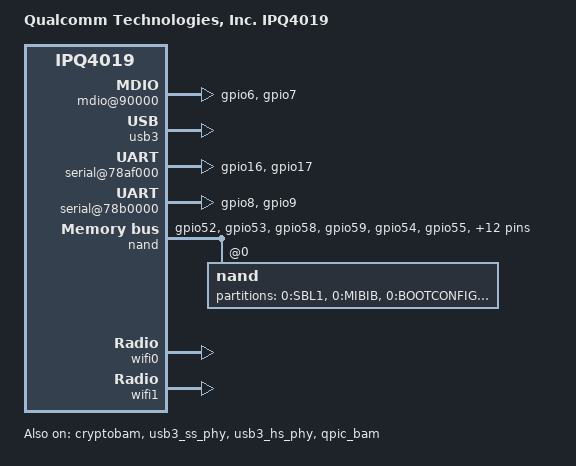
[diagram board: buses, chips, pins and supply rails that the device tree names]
/* Copyright (c) 2015, The Linux Foundation. All rights reserved.
 * Copyright (c) 2018, David Bauer <mail@david-bauer.net>
 *
 * Permission to use, copy, modify, and/or distribute this software for any
 * purpose with or without fee is hereby granted, provided that the above
 * copyright notice and this permission notice appear in all copies.
 *
 * THE SOFTWARE IS PROVIDED "AS IS" AND THE AUTHOR DISCLAIMS ALL WARRANTIES
 * WITH REGARD TO THIS SOFTWARE INCLUDING ALL IMPLIED WARRANTIES OF
 * MERCHANTABILITY AND FITNESS. IN NO EVENT SHALL THE AUTHOR BE LIABLE FOR
 * ANY SPECIAL, DIRECT, INDIRECT, OR CONSEQUENTIAL DAMAGES OR ANY DAMAGES
 * WHATSOEVER RESULTING FROM LOSS OF USE, DATA OR PROFITS, WHETHER IN AN
 * ACTION OF CONTRACT, NEGLIGENCE OR OTHER TORTIOUS ACTION, ARISING OUT OF
 * OR IN CONNECTION WITH THE USE OR PERFORMANCE OF THIS SOFTWARE.
 *
 */

#include "qcom-ipq4019.dtsi"
#include "qcom-ipq4019-bus.dtsi"
#include <dt-bindings/gpio/gpio.h>
#include <dt-bindings/input/input.h>
#include <dt-bindings/soc/qcom,tcsr.h>

/ {
	model = "Qualcomm Technologies, Inc. IPQ4019";
	compatible = "qcom,cm520", "qcom,ipq4019";

	chosen {
		bootargs-append = "ubi.block=0,1 root=/dev/ubiblock0_1 rootfstype=squashfs";
	};

	soc {
		rng@22000 {
			status = "okay";
		};

		mdio@90000 {
			status = "okay";
			pinctrl-0 = <&mdio_pins>;
			pinctrl-names = "default";
			phy-reset-gpio = <&tlmm 47 0>;
			/delete-node/ ethernet-phy@0;
			/delete-node/ ethernet-phy@1;
		};

		ess-psgmii@98000 {
			status = "okay";
		};

		tcsr@1949000 {
			compatible = "qcom,tcsr";
			reg = <0x1949000 0x100>;
			qcom,wifi_glb_cfg = <TCSR_WIFI_GLB_CFG>;
		};

		tcsr@194b000 {
			compatible = "qcom,tcsr";
			reg = <0x194b000 0x100>;
			qcom,usb-hsphy-mode-select = <TCSR_USB_HSPHY_HOST_MODE>;
		};

		ess_tcsr@1953000 {
			compatible = "qcom,tcsr";
			reg = <0x1953000 0x1000>;
			qcom,ess-interface-select = <TCSR_ESS_PSGMII>;
		};

		tcsr@1957000 {
			compatible = "qcom,tcsr";
			reg = <0x1957000 0x100>;
			qcom,wifi_noc_memtype_m0_m2 = <TCSR_WIFI_NOC_MEMTYPE_M0_M2>;
		};

		usb3@8af8800 {
			status = "okay";
		};

		crypto@8e3a000 {
			status = "okay";
		};

		watchdog@b017000 {
			status = "okay";
		};

		qca8075: ess-switch@c000000 {
			status = "okay";
			switch_lan_bmp = <0x18>;
			switch_wan_bmp = <0x20>;

			#gpio-cells = <2>;
			gpio-controller;
		};

		edma@c080000 {
			status = "okay";
		};

		serial@78af000 {
			pinctrl-0 = <&serial_0_pins>;
			pinctrl-names = "default";
			status = "okay";
		};

		serial@78b0000 {
			pinctrl-0 = <&serial_1_pins>;
			pinctrl-names = "default";
			status = "okay";
		};

		usb3: usb3@8af8800 {
			status = "okay";
		};

		crypto@8e3a000 {
			status = "okay";
		};

		watchdog@b017000 {
			status = "okay";
		};
	};
};

&tlmm {
	serial_0_pins: serial_pinmux {
		mux {
			pins = "gpio16", "gpio17";
			function = "blsp_uart0";
			bias-disable;
		};
	};

	serial_1_pins: serial1_pinmux {
		mux {
			pins = "gpio8", "gpio9";
			function = "blsp_uart1";
			bias-disable;
		};
	};

	mdio_pins: mdio_pinmux {
		mux_1 {
			pins = "gpio6";
			function = "mdio";
			bias-pull-up;
		};
		mux_2 {
			pins = "gpio7";
			function = "mdc";
			bias-pull-up;
		};
	};

	nand_pins: nand_pins {

		pullups {
			pins = "gpio52", "gpio53", "gpio58",
				"gpio59";
			function = "qpic";
			bias-pull-up;
		};

		pulldowns {
			pins = "gpio54", "gpio55", "gpio56",
				"gpio57", "gpio60", "gpio61",
				"gpio62", "gpio63", "gpio64",
				"gpio65", "gpio66", "gpio67",
				"gpio68", "gpio69";
			function = "qpic";
			bias-pull-down;
		};
	};
};

&nand {
	pinctrl-0 = <&nand_pins>;
	pinctrl-names = "default";
	status = "okay";
	nand@0 {
		partitions {
			compatible = "fixed-partitions";
			#address-cells = <0x1>;
			#size-cells = <0x1>;

			partition@0 {
				label = "0:SBL1";
				reg = <0x0 0x100000>;
				read-only;
			};

			partition@100000 {
				label = "0:MIBIB";
				reg = <0x100000 0x100000>;
				read-only;
			};

			partition@200000 {
				label = "0:BOOTCONFIG";
				reg = <0x200000 0x100000>;
				read-only;
			};

			partition@400000 {
				label = "0:QSEE";
				reg = <0x400000 0x100000>;
				read-only;
			};

			partition@300000 {
				label = "0:QSEE_1 ";
				reg = <0x300000 0x100000>;
				read-only;
			};

			partition@580000 {
				label = "0:CDT";
				reg = <0x580000 0x80000>;
				read-only;
			};

			partition@500000 {
				label = "0:CDT_1";
				reg = <0x500000 0x80000>;
				read-only;
			};

			partition@0x600000 {
				label = "0:BOOTCONFIG1";
				reg = <0x600000 0x80000>;
				read-only;
			};

			partition@680000 {
				label = "0:APPSBLENV";
				reg = <0x680000 0x80000>;
			};

			partition@900000 {
				label = "0:APPSBL";
				reg = <0x900000 0x200000>;
			};

			partition@700000 {
				label = "0:APPSBL_1";
				reg = <0x700000 0x200000>;
			};

			partition@b00000 {
				label = "0:ART";
				reg = <0xb00000 0x80000>;
			};

			partition@4c80000 {
				label = "rootfs";
				reg = <0x4c80000 0x3300000>;
			};

			partition@b80000 {
				label = "rootfs_1";
				reg = <0xb80000 0x4100000>;
			};
		};
	};
};

&cryptobam {
	status = "okay";
};

&blsp_dma {
	status = "okay";
};

&usb3_ss_phy {
	status = "okay";
};

&usb3_hs_phy {
	status = "okay";
};

&qpic_bam {
	status = "okay";
};

&wifi0 {
	status = "okay";
	qcom,ath10k-calibration-variant = "CM520";
};

&wifi1 {
	status = "okay";
	qcom,ath10k-calibration-variant = "CM520";
};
